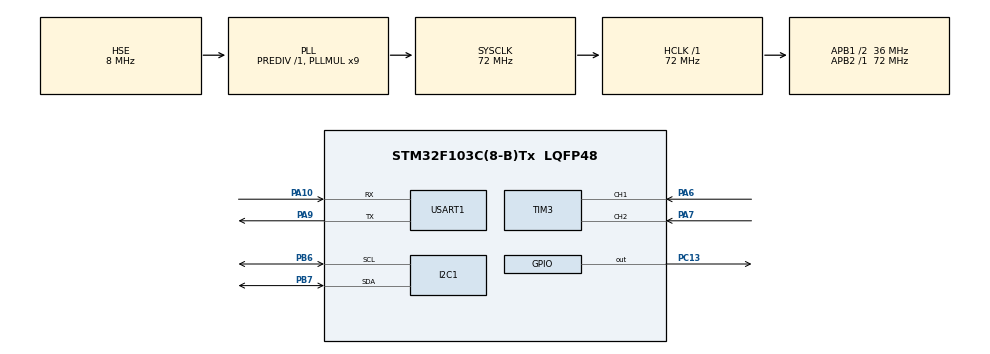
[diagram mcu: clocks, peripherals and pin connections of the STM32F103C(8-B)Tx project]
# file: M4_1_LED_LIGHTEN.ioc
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I2C1.I2C_Mode=I2C_Fast
Mcu.Family=STM32F1
Mcu.Name=STM32F103C(8-B)Tx
Mcu.Package=LQFP48
NVIC.PriorityGroup=NVIC_PRIORITYGROUP_4
PA10.Mode=Asynchronous
PA10.Signal=USART1_RX
PA6.Signal=S_TIM3_CH1
PA7.Signal=S_TIM3_CH2
PA9.Mode=Asynchronous
PA9.Signal=USART1_TX
PB6.Mode=I2C
PB6.Signal=I2C1_SCL
PB7.Mode=I2C
PB7.Signal=I2C1_SDA
PC13-TAMPER-RTC.Signal=GPIO_Output
PD0-OSC_IN.Mode=HSE-External-Oscillator
PD0-OSC_IN.Signal=RCC_OSC_IN
PD1-OSC_OUT.Mode=HSE-External-Oscillator
PD1-OSC_OUT.Signal=RCC_OSC_OUT
ProjectManager.HeapSize=0x200
ProjectManager.StackSize=0x400
ProjectManager.TargetToolchain=MDK-ARM V5.32
RCC.AHBFreq_Value=72000000
RCC.APB1CLKDivider=RCC_HCLK_DIV2
RCC.APB1Freq_Value=36000000
RCC.APB1TimFreq_Value=72000000
RCC.APB2Freq_Value=72000000
RCC.APB2TimFreq_Value=72000000
RCC.HCLKFreq_Value=72000000
RCC.PLLMUL=RCC_PLL_MUL9
RCC.PLLSourceVirtual=RCC_PLLSOURCE_HSE
RCC.SYSCLKFreq_VALUE=72000000
RCC.SYSCLKSource=RCC_SYSCLKSOURCE_PLLCLK
RCC.USBFreq_Value=72000000
SH.S_TIM3_CH1.0=TIM3_CH1,Encoder_Interface
SH.S_TIM3_CH2.0=TIM3_CH2,Encoder_Interface
TIM3.EncoderMode=TIM_ENCODERMODE_TI12
USART1.VirtualMode=VM_ASYNC
VP_SYS_VS_ND.Mode=No_Debug
board=custom

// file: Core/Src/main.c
/* USER CODE BEGIN Header */
/**
  ******************************************************************************
  * @file           : main.c
  * @brief          : Main program body
  ******************************************************************************
  * @attention
  *
  * Copyright (c) 2026 STMicroelectronics.
  * All rights reserved.
  *
  * This software is licensed under terms that can be found in the LICENSE file
  * in the root directory of this software component.
  * If no LICENSE file comes with this software, it is provided AS-IS.
  *
  ******************************************************************************
  */
/* USER CODE END Header */
#include "main.h"

/* USER CODE BEGIN Includes */
#include "board_config.h"
#include "proto.h"
#include "mpu6050.h"
#include "filter.h"
#include "encoder.h"
#include "motor.h"
#include <stdio.h>
#include <stdarg.h>
#include <string.h>
/* USER CODE END Includes */

/* USER CODE BEGIN PD */
#define _STR(x) #x
#define STR(x)  _STR(x)

#define LED_ON()   HAL_GPIO_WritePin(LED_PORT, LED_PIN, \
                   (LED_ACTIVE_LOW ? GPIO_PIN_RESET : GPIO_PIN_SET))
#define LED_OFF()  HAL_GPIO_WritePin(LED_PORT, LED_PIN, \
                   (LED_ACTIVE_LOW ? GPIO_PIN_SET : GPIO_PIN_RESET))

/* ================= 串口示波器录制模式（M4-2 任务 4） =================
 * VOFA+ 的 FireWater 协议只认"纯数字+逗号+换行"，行首字母会让整帧解析失败。
 * 所以这里做一个开关：
 *   VOFA_MODE = 1  纯数值 CSV（t,gyro_int,fused,acc,gy），并临时关掉
 *                  心跳/ENC/IMU 文本行和 50ms 二进制状态帧，画面才干净
 *   VOFA_MODE = 0  恢复正常的文本日志 + 二进制帧（平时用这个）
 * 录完曲线截图后记得改回 0 重新烧录。 */
#define VOFA_MODE   0
/* USER CODE END PD */

I2C_HandleTypeDef hi2c1;

TIM_HandleTypeDef htim3;

UART_HandleTypeDef huart1;

/* USER CODE BEGIN PV */
static proto_ctx_t s_proto;
/* USER CODE END PV */

void SystemClock_Config(void);
static void MX_GPIO_Init(void);
static void MX_USART1_UART_Init(void);
static void MX_I2C1_Init(void);
static void MX_TIM3_Init(void);
/* USER CODE BEGIN PFP */
static void BOARD_GPIO_Init(void);
/* USER CODE END PFP */

/* USER CODE BEGIN 0 */

/* ---- printf 重定向到 USART1（Keil: 需勾选 Use MicroLIB） ---- */
#ifdef __GNUC__
  int __io_putchar(int ch)
#else
  int fputc(int ch, FILE *f)
#endif
{
    HAL_UART_Transmit(&huart1, (uint8_t *)&ch, 1, 0xFFFF);
    return ch;
}

/* ---- 不依赖 stdio 的串口输出：直接调 HAL，规避 printf 卡死 ---- */
static void uart_send_str(const char *s)
{
    HAL_UART_Transmit(&huart1, (uint8_t *)s, (uint16_t)strlen(s), 200);
}

static void uart_printf(const char *fmt, ...)
{
    char    buf[128];
    va_list ap;

    va_start(ap, fmt);
    (void)vsnprintf(buf, sizeof(buf), fmt, ap);
    va_end(ap);
    uart_send_str(buf);
}

/**
 * @brief 按 board_config.h 的宏初始化 LED 与按键。
 *        全部走宏，换板只改 board_config.h 一处。
 */
static void BOARD_GPIO_Init(void)
{
  GPIO_InitTypeDef GPIO_InitStruct = {0};

  LED_PORT_CLK_EN();
  KEY_PORT_CLK_EN();

  /* 上电先让 LED 熄灭 */
  HAL_GPIO_WritePin(LED_PORT, LED_PIN,
                    LED_ACTIVE_LOW ? GPIO_PIN_SET : GPIO_PIN_RESET);

  /* LED：推挽输出 */
  GPIO_InitStruct.Pin   = LED_PIN;
  GPIO_InitStruct.Mode  = GPIO_MODE_OUTPUT_PP;
  GPIO_InitStruct.Pull  = GPIO_NOPULL;
  GPIO_InitStruct.Speed = GPIO_SPEED_FREQ_LOW;
  HAL_GPIO_Init(LED_PORT, &GPIO_InitStruct);

  /* 按键：输入。按下接地则上拉，按下接 VCC 则下拉 */
  GPIO_InitStruct.Pin  = KEY_PIN;
  GPIO_InitStruct.Mode = GPIO_MODE_INPUT;
  GPIO_InitStruct.Pull = KEY_ACTIVE_LOW ? GPIO_PULLUP : GPIO_PULLDOWN;
  HAL_GPIO_Init(KEY_PORT, &GPIO_InitStruct);
}
/* USER CODE END 0 */

int main(void)
{

  /* USER CODE BEGIN 1 */
  uint32_t t_now      = 0;
  uint32_t t_hb       = 0;          /* 上次心跳时刻 */
  uint32_t t_key      = 0;          /* 上次按键扫描时刻 */
  uint32_t hb_cnt     = 0;          /* 心跳计数 */
  uint8_t  key_cnt    = 0;          /* 消抖计数 */
  uint8_t  key_stable = 0;          /* 消抖后的按键状态：1=按下 */
  uint8_t  i          = 0;          /* 自检闪烁循环变量 */
  uint32_t t_status   = 0;          /* 上次发状态帧时刻 */
  uint16_t hb_seq     = 0;          /* 状态帧心跳计数 */
  uint8_t  rx_b       = 0;          /* 串口收到的单字节 */
  int16_t  tgt_l      = 0;          /* 上位机下发的左轮目标 */
  int16_t  tgt_r      = 0;          /* 上位机下发的右轮目标 */
  uint8_t  i2c_addrs[8] = {0};      /* I2C 扫描结果 */
  uint8_t  i2c_cnt    = 0;          /* 应答的器件个数 */
  uint8_t  imu_ok     = 0;          /* 0 = MPU6050 初始化成功 */
  uint32_t t_imu      = 0;          /* 上次读 IMU 的时刻 */
  mpu6050_data_t imu;               /* IMU 数据 */
  pitch_filter_t flt;               /* 互补滤波器 */
  uint8_t  imu_calib  = 0;          /* 0 = 还在估零偏，1 = 正常融合 */
  uint32_t t_calib    = 0;          /* 零偏估计起点 */
  uint32_t t_imu_prt  = 0;          /* 上次打印人读信息 */
  float    gy_sum     = 0.0f;       /* 零偏累加 */
  uint16_t gy_n       = 0;          /* 零偏样本数 */
  uint32_t t_enc      = 0;          /* 上次编码器采样时刻 */
  uint32_t t_log      = 0;          /* 上次打印 STEP 过程数据的时刻 */
  uint32_t t_mot_last = 0;          /* 最近一次电机"有动作"的时刻 */
  uint32_t t_key_down = 0;          /* 按键按下的时刻（判长按） */
  uint8_t  key_long   = 0;          /* 1 = 本次长按已经触发过 */
  /* USER CODE END 1 */

  /* MCU Configuration--------------------------------------------------------*/

  /* Reset of all peripherals, Initializes the Flash interface and the Systick. */
  HAL_Init();

  /* Configure the system clock */
  SystemClock_Config();

  /* Initialize all configured peripherals */
  MX_GPIO_Init();
  MX_USART1_UART_Init();
  MX_I2C1_Init();
  MX_TIM3_Init();
  /* USER CODE BEGIN 2 */
  BOARD_GPIO_Init();

  /* 开机自检：闪 3 下。闪了说明程序跑到了这里（时钟配置成功）。 */
  for (i = 0; i < 3; i++)
  {
    LED_ON();
    HAL_Delay(150);
    LED_OFF();
    HAL_Delay(150);
  }

  uart_send_str("\r\n================================\r\n");
  uart_printf("[BOOT] M4-1 up, SYSCLK = %lu MHz\r\n",
              (unsigned long)(HAL_RCC_GetHCLKFreq() / 1000000U));
  uart_printf("[BOOT] LED = %s (active %s)\r\n",
              LED_PIN_NAME, LED_ACTIVE_LOW ? "LOW" : "HIGH");
  uart_printf("[BOOT] KEY = %s (active %s)\r\n",
              KEY_PIN_NAME, KEY_ACTIVE_LOW ? "LOW" : "HIGH");
  uart_printf("[BOOT] UART1 %d 8N1\r\n", (int)UART_BAUD);
  uart_send_str("================================\r\n");

  proto_init(&s_proto);
  proto_uart_start();

  /* ---------- M4-2：先证明 I2C 通，再谈算法 ---------- */
  i2c_cnt = mpu6050_scan_bus(i2c_addrs, 8);
  uart_printf("[I2C] found %u device(s):", (unsigned)i2c_cnt);
  for (i = 0; i < i2c_cnt && i < 8; i++) {
    uart_printf(" 0x%02X", (unsigned)i2c_addrs[i]);
  }
  uart_send_str("\r\n");

  imu_ok = mpu6050_init();
  if (imu_ok == 0u) {
    uart_send_str("[IMU] MPU6050 init OK\r\n");
  } else {
    uart_printf("[IMU] init FAILED, code=%u\r\n", (unsigned)imu_ok);
  }

  /* 互补滤波：τ = 0.5s，α = 0.5/(0.5+dt) */
  filter_init(&flt, 0.5f);
  t_calib = HAL_GetTick();
  uart_send_str("[CAL] 请保持静止 1 秒，正在估计陀螺零偏...\r\n");

  encoder_init();
  uart_printf("[ENC] TIM3 encoder started, CPR = %u (0 = 未标定)\r\n",
              (unsigned)ENCODER_CPR);

  /* ---------- M4-3：电机驱动 + 10ms 控制节拍 ---------- */
  motor_init();
  uart_send_str("[MOT] TB6612 ready: PWMA=PB8 PWMB=PB9 "
                "AIN=PB12/13 BIN=PB14/15 STBY=PB11\r\n");
  uart_printf("[MOT] controller = %s\r\n", motor_mode_name());
  uart_send_str("[MOT] key: press = cycle 0/40/80 rpm, hold 1s = step test\r\n");
  /* USER CODE END 2 */

  /* Infinite loop */
  /* USER CODE BEGIN WHILE */
  while (1)
  {
    t_now = HAL_GetTick();

    /* ---------- 功能 B-1：500ms 心跳，非阻塞 ---------- */
    if ((uint32_t)(t_now - t_hb) >= HEARTBEAT_MS)
    {
      t_hb += HEARTBEAT_MS;         /* 累加而不是赋值 = 不会累积漂移 */
#if !VOFA_MODE
      uart_printf("[HB] t=%lu ms cnt=%lu\r\n",
                  (unsigned long)t_now, (unsigned long)hb_cnt);
#endif
      hb_cnt++;
    }

    /* ---------- M4-2：编码器累计量
     * 注意：增量已经被 10ms 控制中断取走了，这里不能再调
     * encoder_read_delta()，否则控制环会丢脉冲。 */
    if ((uint32_t)(t_now - t_enc) >= 1000u)
    {
      t_enc = t_now;
#if !VOFA_MODE
      uart_printf("[ENC] total=%ld rpm=%.2f tgt=%.1f pwm=%.0f\r\n",
                  (long)motor_get_total(), motor_get_rpm(),
                  motor_get_target(), motor_get_pwm());
#endif
    }

    /* ---------- M4-3：20ms 一行过程数据，供离线画阶跃响应 ---------- */
    if ((uint32_t)(t_now - t_log) >= 20u)
    {
      uint8_t active = (motor_get_target() != 0.0f) ||
                       (motor_profile_running() != 0u);
      t_log = t_now;
      if (active) { t_mot_last = t_now; }
      /* 目标回 0 之后再记 1.5 秒，才能看到"回到零速"的稳定过程 */
      if (active || ((t_mot_last != 0u) &&
                     ((uint32_t)(t_now - t_mot_last) < 1500u)))
      {
        uart_printf("STEP,%lu,%.1f,%.2f,%.0f,%.0f\r\n",
                    (unsigned long)(motor_get_ticks() * 10u),
                    motor_get_target(),
                    motor_get_rpm(),
                    motor_get_pwm(),
                    motor_get_integ());
      }
    }

    /* ---------- M4-3：阶跃序列跑完的提示 ---------- */
    if (motor_profile_done())
    {
      uart_send_str("[PROF] step test done\r\n");
    }

    /* ---------- M4-2：每 20ms 读 IMU，互补滤波 ---------- */
    if (imu_ok == 0u && (uint32_t)(t_now - t_imu) >= 20u)
    {
      t_imu = t_now;
      if (mpu6050_read(&imu) == 0u)
      {
        float pitch_acc = mpu6050_pitch_acc_deg(&imu);

        if (imu_calib == 0u)
        {
          /* 启动后 1 秒静止：估俯仰轴陀螺零偏 */
          gy_sum += imu.gy_dps;
          gy_n++;
          if ((uint32_t)(t_now - t_calib) >= 1000u)
          {
            imu_calib = 1u;
            filter_set_bias(&flt, gy_sum / (float)gy_n);
            filter_reset(&flt, pitch_acc);
            uart_printf("[CAL] gyro bias = %.2f dps (%u samples), init pitch = %.1f deg\r\n",
                        flt.bias_gy, (unsigned)gy_n, pitch_acc);
          }
        }
        else
        {
          float pitch = filter_update(&flt, t_now, imu.gy_dps, pitch_acc);

          /* CSV 行：供离线分析与画图；字段固定，便于 grep "^CSV," */
#if VOFA_MODE
          /* 示波器模式：只输出 1 路 rpm，通道映射不可能出错。
           * 手转输出轴一圈 → 曲线上出现一正一负两个鼓包。 */
          uart_printf("%.2f\r\n", motor_get_rpm());
#else
          uart_printf("CSV,%lu,%.2f,%.2f,%.2f,%.2f\r\n",
                      (unsigned long)t_now,
                      flt.pitch_gyro, pitch, pitch_acc, imu.gy_dps);
#endif

#if !VOFA_MODE
          if ((uint32_t)(t_now - t_imu_prt) >= 1000u)
          {
            t_imu_prt = t_now;
            uart_printf("[IMU] acc=%.1f fused=%.1f gyro_int=%.1f bias=%.2f\r\n",
                        pitch_acc, pitch, flt.pitch_gyro, flt.bias_gy);
          }
#endif
        }
      }
      else
      {
        uart_send_str("[IMU] read failed\r\n");
      }
    }

    /* ---------- M4-4 收帧：环形缓冲里的字节全部喂给状态机 ---------- */
    while (proto_uart_pop(&rx_b))
    {
      if (proto_feed(&s_proto, rx_b))
      {
        if (s_proto.frame.msg_id == MSG_CMD_SPEED && s_proto.frame.len == 4)
        {
          tgt_l = (int16_t)((uint16_t)s_proto.frame.payload[0]
                          | ((uint16_t)s_proto.frame.payload[1] << 8));
          tgt_r = (int16_t)((uint16_t)s_proto.frame.payload[2]
                          | ((uint16_t)s_proto.frame.payload[3] << 8));
          uart_printf("[CMD] L=%d R=%d\r\n", tgt_l, tgt_r);

          /* M4-3 + M4-4 打通：上位机下发的转速直接进速度环。
           * 单电机演示，先取左轮目标；motor_set_target 内部会限幅到 ±130rpm。 */
          motor_set_target((float)tgt_l);
        }
      }
    }

    /* ---------- M4-4 发帧：50ms 一帧状态（轮速暂填 0） ---------- */
    if ((uint32_t)(t_now - t_status) >= PROTO_STATUS_MS)
    {
      t_status += PROTO_STATUS_MS;
#if !VOFA_MODE
      {
        /* M4-3 接通后这里填真实轮速：上位机终于能看到闭环结果了。
         * 单电机演示，左右先填同一路；俯仰角有就带上（×10 定点）。 */
        int16_t m_l = (int16_t)motor_get_rpm();
        int16_t m_p = 0;

        if (imu_ok == 0u && imu_calib != 0u) {
          m_p = (int16_t)(flt.pitch * 10.0f);
        }
        proto_send_status((uint16_t)m_l, (uint16_t)m_l, m_p,
                          hb_seq++, (uint16_t)s_proto.bad_cnt);
      }
#endif
    }

    /* ---------- 按键扫描 + 消抖（10ms 一次，2 次一致才认） ---------- */
    if ((uint32_t)(t_now - t_key) >= KEY_SCAN_MS)
    {
      uint8_t  raw;
      uint8_t  pressed;

      t_key = t_now;
      raw     = HAL_GPIO_ReadPin(KEY_PORT, KEY_PIN);
      pressed = KEY_ACTIVE_LOW ? (raw == GPIO_PIN_RESET)
                               : (raw == GPIO_PIN_SET);

      if (pressed != key_stable)
      {
        if (++key_cnt >= KEY_DEBOUNCE_CNT)
        {
          key_stable = pressed;
          key_cnt    = 0;
          /* ---------- 功能 B-2：按键事件打印 ---------- */
          uart_printf("[KEY] %s t=%lu ms\r\n",
                      pressed ? "DOWN" : "UP", (unsigned long)t_now);

          /* ---------- M4-3：短按轮换目标转速 ---------- */
          if (pressed)
          {
            t_key_down = t_now;
          }
          else if ((uint32_t)(t_now - t_key_down) < 1000u)
          {
            float tgt = motor_get_target();
            if      (tgt <  20.0f) { motor_set_target( 40.0f); }
            else if (tgt <  60.0f) { motor_set_target( 80.0f); }
            else                   { motor_set_target(  0.0f); }
            uart_printf("[MOT] target = %.0f rpm\r\n",
                        motor_get_target());
          }
        }
      }
      else
      {
        key_cnt = 0;
      }

      /* ---------- M4-3：长按 1 秒启动内置阶跃测试 ---------- */
      if (!key_stable)
      {
        key_long = 0u;
      }
      else if ((key_long == 0u) &&
               ((uint32_t)(t_now - t_key_down) >= 1000u))
      {
        key_long = 1u;
        motor_start_profile();
        uart_send_str("[PROF] step test: 0 -> +60 -> 0 -> -60 -> 0 rpm\r\n");
      }
    }

    /* ---------- 功能 A：按住亮、松开灭 ---------- */
    if (key_stable) { LED_ON(); } else { LED_OFF(); }

    /* USER CODE END WHILE */

  }
}

void SystemClock_Config(void)
{
  RCC_OscInitTypeDef RCC_OscInitStruct = {0};
  RCC_ClkInitTypeDef RCC_ClkInitStruct = {0};

  /** Initializes the RCC Oscillators according to the specified parameters
  * in the RCC_OscInitTypeDef structure.
  */
  RCC_OscInitStruct.OscillatorType = RCC_OSCILLATORTYPE_HSE;
  RCC_OscInitStruct.HSEState = RCC_HSE_ON;
  RCC_OscInitStruct.HSEPredivValue = RCC_HSE_PREDIV_DIV1;
  RCC_OscInitStruct.HSIState = RCC_HSI_ON;
  RCC_OscInitStruct.PLL.PLLState = RCC_PLL_ON;
  RCC_OscInitStruct.PLL.PLLSource = RCC_PLLSOURCE_HSE;
  RCC_OscInitStruct.PLL.PLLMUL = RCC_PLL_MUL9;
  if (HAL_RCC_OscConfig(&RCC_OscInitStruct) != HAL_OK)
  {
    Error_Handler();
  }

  /** Initializes the CPU, AHB and APB buses clocks
  */
  RCC_ClkInitStruct.ClockType = RCC_CLOCKTYPE_HCLK|RCC_CLOCKTYPE_SYSCLK
                              |RCC_CLOCKTYPE_PCLK1|RCC_CLOCKTYPE_PCLK2;
  RCC_ClkInitStruct.SYSCLKSource = RCC_SYSCLKSOURCE_PLLCLK;
  RCC_ClkInitStruct.AHBCLKDivider = RCC_SYSCLK_DIV1;
  RCC_ClkInitStruct.APB1CLKDivider = RCC_HCLK_DIV2;
  RCC_ClkInitStruct.APB2CLKDivider = RCC_HCLK_DIV1;

  if (HAL_RCC_ClockConfig(&RCC_ClkInitStruct, FLASH_LATENCY_2) != HAL_OK)
  {
    Error_Handler();
  }
}

static void MX_I2C1_Init(void)
{

  hi2c1.Instance = I2C1;
  hi2c1.Init.ClockSpeed = 400000;
  hi2c1.Init.DutyCycle = I2C_DUTYCYCLE_2;
  hi2c1.Init.OwnAddress1 = 0;
  hi2c1.Init.AddressingMode = I2C_ADDRESSINGMODE_7BIT;
  hi2c1.Init.DualAddressMode = I2C_DUALADDRESS_DISABLE;
  hi2c1.Init.OwnAddress2 = 0;
  hi2c1.Init.GeneralCallMode = I2C_GENERALCALL_DISABLE;
  hi2c1.Init.NoStretchMode = I2C_NOSTRETCH_DISABLE;
  if (HAL_I2C_Init(&hi2c1) != HAL_OK)
  {
    Error_Handler();
  }

}

static void MX_TIM3_Init(void)
{

  TIM_Encoder_InitTypeDef sConfig = {0};
  TIM_MasterConfigTypeDef sMasterConfig = {0};

  htim3.Instance = TIM3;
  htim3.Init.Prescaler = 0;
  htim3.Init.CounterMode = TIM_COUNTERMODE_UP;
  htim3.Init.Period = 65535;
  htim3.Init.ClockDivision = TIM_CLOCKDIVISION_DIV1;
  htim3.Init.AutoReloadPreload = TIM_AUTORELOAD_PRELOAD_DISABLE;
  sConfig.EncoderMode = TIM_ENCODERMODE_TI12;
  sConfig.IC1Polarity = TIM_ICPOLARITY_RISING;
  sConfig.IC1Selection = TIM_ICSELECTION_DIRECTTI;
  sConfig.IC1Prescaler = TIM_ICPSC_DIV1;
  sConfig.IC1Filter = 0;
  sConfig.IC2Polarity = TIM_ICPOLARITY_RISING;
  sConfig.IC2Selection = TIM_ICSELECTION_DIRECTTI;
  sConfig.IC2Prescaler = TIM_ICPSC_DIV1;
  sConfig.IC2Filter = 0;
  if (HAL_TIM_Encoder_Init(&htim3, &sConfig) != HAL_OK)
  {
    Error_Handler();
  }
  sMasterConfig.MasterOutputTrigger = TIM_TRGO_RESET;
  sMasterConfig.MasterSlaveMode = TIM_MASTERSLAVEMODE_DISABLE;
  if (HAL_TIMEx_MasterConfigSynchronization(&htim3, &sMasterConfig) != HAL_OK)
  {
    Error_Handler();
  }

}

static void MX_USART1_UART_Init(void)
{

  huart1.Instance = USART1;
  huart1.Init.BaudRate = 115200;
  huart1.Init.WordLength = UART_WORDLENGTH_8B;
  huart1.Init.StopBits = UART_STOPBITS_1;
  huart1.Init.Parity = UART_PARITY_NONE;
  huart1.Init.Mode = UART_MODE_TX_RX;
  huart1.Init.HwFlowCtl = UART_HWCONTROL_NONE;
  huart1.Init.OverSampling = UART_OVERSAMPLING_16;
  if (HAL_UART_Init(&huart1) != HAL_OK)
  {
    Error_Handler();
  }

}

static void MX_GPIO_Init(void)
{
  GPIO_InitTypeDef GPIO_InitStruct = {0};

  /* GPIO Ports Clock Enable */
  __HAL_RCC_GPIOC_CLK_ENABLE();
  __HAL_RCC_GPIOD_CLK_ENABLE();
  __HAL_RCC_GPIOA_CLK_ENABLE();
  __HAL_RCC_GPIOB_CLK_ENABLE();

  /*Configure GPIO pin Output Level */
  HAL_GPIO_WritePin(GPIOC, GPIO_PIN_13, GPIO_PIN_RESET);

  /*Configure GPIO pin : PC13 */
  GPIO_InitStruct.Pin = GPIO_PIN_13;
  GPIO_InitStruct.Mode = GPIO_MODE_OUTPUT_PP;
  GPIO_InitStruct.Pull = GPIO_NOPULL;
  GPIO_InitStruct.Speed = GPIO_SPEED_FREQ_LOW;
  HAL_GPIO_Init(GPIOC, &GPIO_InitStruct);

  /* USER CODE BEGIN MX_GPIO_Init_2 */
  /* 注意：LED / 按键的引脚配置已全部移到 BOARD_GPIO_Init()，
     由 board_config.h 的宏驱动。此处不再配置具体引脚，
     这样 CubeMX 重新生成代码时不会覆盖换板逻辑。 */
  (void)GPIO_InitStruct;
  /* USER CODE END MX_GPIO_Init_2 */
}

void Error_Handler(void)
{
  __disable_irq();
  while (1)
  {
  }
}
